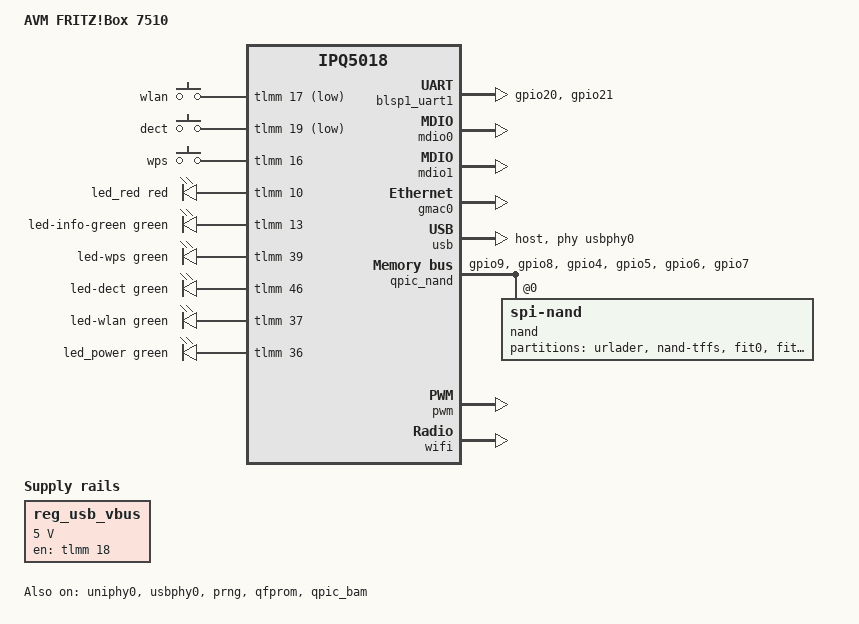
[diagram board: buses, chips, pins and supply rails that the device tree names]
// SPDX-License-Identifier: GPL-2.0-or-later OR MIT

/dts-v1/;

#include "ipq5018.dtsi"
#include "ipq5018-ess.dtsi"

#include <dt-bindings/gpio/gpio.h>
#include <dt-bindings/input/input.h>
#include <dt-bindings/leds/common.h>

/ {
	model = "AVM FRITZ!Box 7510";
	compatible = "avm,fritzbox-7510", "qcom,ipq5018";

	aliases {
		led-boot = &led_power;
		led-failsafe = &led_red;
		led-running = &led_power;
		led-upgrade = &led_red;
		serial0 = &blsp1_uart1;
	};

	chosen {
		bootargs = "ubi.mtd=ubi root=/dev/ubiblock0_0 swiotlb=1 coherent_pool=2M";
		stdout-path = "serial0:115200n8";
	};

	keys {
		compatible = "gpio-keys";
		pinctrl-0 = <&button_pins>;
		pinctrl-names = "default";

		button-0 {
			label = "wlan";
			gpios = <&tlmm 17 GPIO_ACTIVE_LOW>;
			linux,code = <KEY_RFKILL>;
		};

		button-1 {
			label = "dect";
			gpios = <&tlmm 19 GPIO_ACTIVE_LOW>;
			linux,code = <KEY_PHONE>;
		};

		button-2 {
			label = "wps";
			gpios = <&tlmm 16 GPIO_ACTIVE_HIGH>;
			linux,code = <KEY_WPS_BUTTON>;
		};
	};

	reg_usb_vbus: regulator-usb-vbus {
		compatible = "regulator-fixed";
		regulator-name = "usb_vbus";
		regulator-min-microvolt = <5000000>;
		regulator-max-microvolt = <5000000>;
		gpios = <&tlmm 18 GPIO_ACTIVE_HIGH>;
		enable-active-high;
	};

	leds {
		compatible = "gpio-leds";
		pinctrl-0 = <&led_pins>;
		pinctrl-names = "default";

		led_red: led-info-red {
			function = "info";
			color = <LED_COLOR_ID_RED>;
			gpios = <&tlmm 10 GPIO_ACTIVE_HIGH>;
		};

		led-info-green {
			function = "info";
			color = <LED_COLOR_ID_GREEN>;
			gpios = <&tlmm 13 GPIO_ACTIVE_HIGH>;
		};

		led-wps {
			function = LED_FUNCTION_WPS;
			color = <LED_COLOR_ID_GREEN>;
			gpios = <&tlmm 39 GPIO_ACTIVE_HIGH>;
		};

		led-dect {
			function = "dect";
			color = <LED_COLOR_ID_GREEN>;
			gpios = <&tlmm 46 GPIO_ACTIVE_HIGH>;
		};

		led-wlan {
			function = LED_FUNCTION_WLAN;
			color = <LED_COLOR_ID_GREEN>;
			gpios = <&tlmm 37 GPIO_ACTIVE_HIGH>;
		};

		led_power: led-power {
			function = LED_FUNCTION_POWER;
			color = <LED_COLOR_ID_GREEN>;
			gpios = <&tlmm 36 GPIO_ACTIVE_HIGH>;
		};
	};
};

&blsp1_uart1 {
	pinctrl-0 = <&serial_0_pins>;
	pinctrl-names = "default";

	status = "okay";
};

&mdio0 {
	status = "okay";
};

&mdio1 {
	status = "okay";
};

&gmac0 {
	status = "okay";
};

&uniphy0 {
	assigned-clocks = <&uniphy0 UNIPHY_CLK_REF>;
	assigned-clock-rates = <UNIPHY_REFCLK_25MHZ>;

	status = "okay";
};

&tlmm {
	button_pins: button-pins {
		pins = "gpio16", "gpio17", "gpio19";
		function = "gpio";
		drive-strength = <8>;
		bias-pull-up;
	};

	led_pins: led-pins {
		pins = "gpio10", "gpio13", "gpio36", "gpio37", "gpio39", "gpio46";
		function = "gpio";
		drive-strength = <2>;
		bias-pull-up;
	};

	qpic_pins: qpic-state {
		clock-pins {
			pins = "gpio9";
			function = "qspi_clk";
			drive-strength = <8>;
			bias-disable;
		};

		cs-pins {
			pins = "gpio8";
			function = "qspi_cs";
			drive-strength = <8>;
			bias-disable;
		};

		data-pins {
			pins = "gpio4", "gpio5", "gpio6", "gpio7";
			function = "qspi_data";
			drive-strength = <8>;
			bias-disable;
		};
	};

	serial_0_pins: uart0-state {
		pins = "gpio20", "gpio21";
		function = "blsp0_uart0";
		drive-strength = <8>;
		bias-disable;
	};
};

&usb {
	dr_mode = "host";

	phys = <&usbphy0>;
	phy-names = "usb2-phy";
	qcom,select-utmi-as-pipe-clk;

	status = "okay";
};

&usbphy0 {
	vdd-supply = <&reg_usb_vbus>;

	status = "okay";
};

&sleep_clk {
	clock-frequency = <32000>;
};

&xo_board_clk {
	clock-div = <4>;
	clock-mult = <1>;
};

&qpic_nand {
	pinctrl-0 = <&qpic_pins>;
	pinctrl-names = "default";

	status = "okay";

	nand@0 {
		compatible = "spi-nand";
		reg = <0>;
		nand-ecc-engine = <&qpic_nand>;
//		nand-ecc-strength = <4>;
//		nand-ecc-step-size = <512>;
//		nand-bus-width = <8>;

		partitions {
			compatible = "fixed-partitions";
			#address-cells = <1>;
			#size-cells = <1>;

			partition@0 {
				label = "urlader";
				reg = <0x00000000 0x540000>;
				read-only;
			};

			partition@1 {
				label = "nand-tffs";
				reg = <0x540000 0x800000>;
				read-only;
			};

			partition@2 {
				label = "fit0";
				reg = <0xd40000 0x800000>;
			};

			partition@3 {
				label = "fit1";
				reg = <0x1540000 0x800000>;
			};

			partition@4 {
				label = "ubi";
				reg = <0x1d40000 0x62c0000>;
			};
		};
	};
};

&prng {
	status = "okay";
};

&qfprom {
	status = "okay";
};

&qpic_bam {
	status = "okay";
};

&pwm {
	status = "okay";
};

&q6v5_wcss {
	firmware-name = "ath11k/IPQ5018/hw1.0/q6_fw.mdt",
			"ath11k/IPQ5018/hw1.0/m3_fw.mdt";
};

&wifi {
	qcom,rproc = <&q6v5_wcss>;
	qcom,ath11k-calibration-variant = "AVM-FritzBox7510";
	qcom,ath11k-fw-memory-mode = <1>;

	status = "okay";
};
